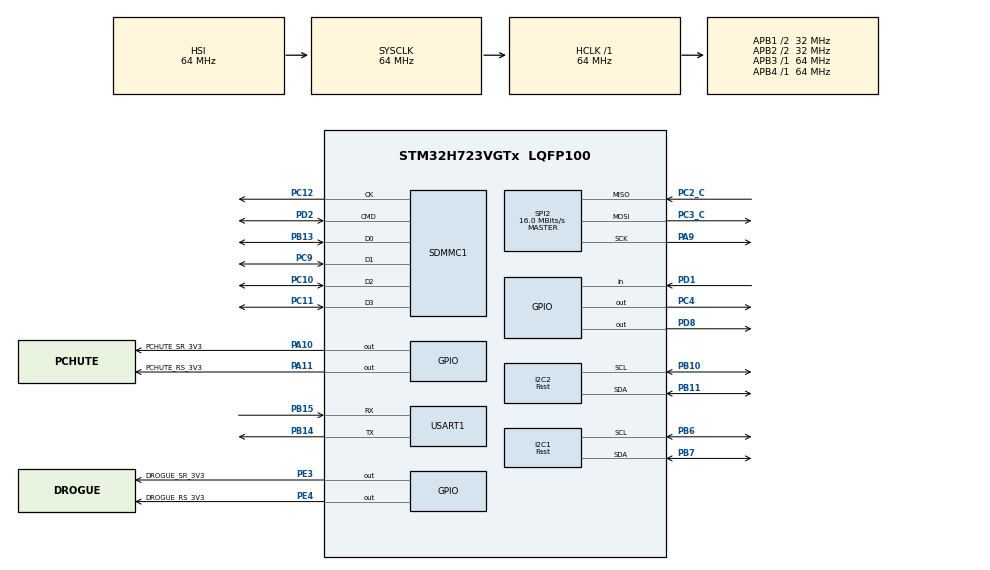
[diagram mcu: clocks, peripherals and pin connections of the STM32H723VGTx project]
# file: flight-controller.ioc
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CORTEX_M7.AccessPermission-Cortex_Memory_Protection_Unit_Region0_Settings=MPU_REGION_FULL_ACCESS
CORTEX_M7.BaseAddress-Cortex_Memory_Protection_Unit_Region0_Settings=0x30000000
CORTEX_M7.DisableExec-Cortex_Memory_Protection_Unit_Region0_Settings=MPU_INSTRUCTION_ACCESS_DISABLE
CORTEX_M7.Enable-Cortex_Memory_Protection_Unit_Region0_Settings=MPU_REGION_ENABLE
CORTEX_M7.MPU_Control=MPU_HFNMI_PRIVDEF
CORTEX_M7.Size-Cortex_Memory_Protection_Unit_Region0_Settings=MPU_REGION_SIZE_32KB
CORTEX_M7.TypeExtField-Cortex_Memory_Protection_Unit_Region0_Settings=MPU_TEX_LEVEL1
Dma.I2C1_RX.2.Direction=DMA_PERIPH_TO_MEMORY
Dma.I2C1_RX.2.EventEnable=DISABLE
Dma.I2C1_RX.2.FIFOMode=DMA_FIFOMODE_DISABLE
Dma.I2C1_RX.2.Instance=DMA1_Stream2
Dma.I2C1_RX.2.MemDataAlignment=DMA_MDATAALIGN_BYTE
Dma.I2C1_RX.2.MemInc=DMA_MINC_ENABLE
Dma.I2C1_RX.2.Mode=DMA_NORMAL
Dma.I2C1_RX.2.PeriphDataAlignment=DMA_PDATAALIGN_BYTE
Dma.I2C1_RX.2.PeriphInc=DMA_PINC_DISABLE
Dma.I2C1_RX.2.Polarity=HAL_DMAMUX_REQ_GEN_RISING
Dma.I2C1_RX.2.Priority=DMA_PRIORITY_LOW
Dma.I2C1_RX.2.RequestNumber=1
Dma.I2C1_RX.2.SignalID=NONE
Dma.I2C1_RX.2.SyncEnable=DISABLE
Dma.I2C1_RX.2.SyncPolarity=HAL_DMAMUX_SYNC_NO_EVENT
Dma.I2C1_RX.2.SyncRequestNumber=1
Dma.I2C1_RX.2.SyncSignalID=NONE
Dma.I2C1_TX.3.Direction=DMA_MEMORY_TO_PERIPH
Dma.I2C1_TX.3.EventEnable=DISABLE
Dma.I2C1_TX.3.FIFOMode=DMA_FIFOMODE_DISABLE
Dma.I2C1_TX.3.Instance=DMA1_Stream3
Dma.I2C1_TX.3.MemDataAlignment=DMA_MDATAALIGN_BYTE
Dma.I2C1_TX.3.MemInc=DMA_MINC_ENABLE
Dma.I2C1_TX.3.Mode=DMA_NORMAL
Dma.I2C1_TX.3.PeriphDataAlignment=DMA_PDATAALIGN_BYTE
Dma.I2C1_TX.3.PeriphInc=DMA_PINC_DISABLE
Dma.I2C1_TX.3.Polarity=HAL_DMAMUX_REQ_GEN_RISING
Dma.I2C1_TX.3.Priority=DMA_PRIORITY_LOW
Dma.I2C1_TX.3.RequestNumber=1
Dma.I2C1_TX.3.SignalID=NONE
Dma.I2C1_TX.3.SyncEnable=DISABLE
Dma.I2C1_TX.3.SyncPolarity=HAL_DMAMUX_SYNC_NO_EVENT
Dma.I2C1_TX.3.SyncRequestNumber=1
Dma.I2C1_TX.3.SyncSignalID=NONE
Dma.I2C2_RX.4.Direction=DMA_PERIPH_TO_MEMORY
Dma.I2C2_RX.4.EventEnable=DISABLE
Dma.I2C2_RX.4.FIFOMode=DMA_FIFOMODE_DISABLE
Dma.I2C2_RX.4.Instance=DMA1_Stream4
Dma.I2C2_RX.4.MemDataAlignment=DMA_MDATAALIGN_BYTE
Dma.I2C2_RX.4.MemInc=DMA_MINC_ENABLE
Dma.I2C2_RX.4.Mode=DMA_NORMAL
Dma.I2C2_RX.4.PeriphDataAlignment=DMA_PDATAALIGN_BYTE
Dma.I2C2_RX.4.PeriphInc=DMA_PINC_DISABLE
Dma.I2C2_RX.4.Polarity=HAL_DMAMUX_REQ_GEN_RISING
Dma.I2C2_RX.4.Priority=DMA_PRIORITY_LOW
Dma.I2C2_RX.4.RequestNumber=1
Dma.I2C2_RX.4.SignalID=NONE
Dma.I2C2_RX.4.SyncEnable=DISABLE
Dma.I2C2_RX.4.SyncPolarity=HAL_DMAMUX_SYNC_NO_EVENT
Dma.I2C2_RX.4.SyncRequestNumber=1
Dma.I2C2_RX.4.SyncSignalID=NONE
Dma.I2C2_TX.5.Direction=DMA_MEMORY_TO_PERIPH
Dma.I2C2_TX.5.EventEnable=DISABLE
Dma.I2C2_TX.5.FIFOMode=DMA_FIFOMODE_DISABLE
Dma.I2C2_TX.5.Instance=DMA1_Stream5
Dma.I2C2_TX.5.MemDataAlignment=DMA_MDATAALIGN_BYTE
Dma.I2C2_TX.5.MemInc=DMA_MINC_ENABLE
Dma.I2C2_TX.5.Mode=DMA_NORMAL
Dma.I2C2_TX.5.PeriphDataAlignment=DMA_PDATAALIGN_BYTE
Dma.I2C2_TX.5.PeriphInc=DMA_PINC_DISABLE
Dma.I2C2_TX.5.Polarity=HAL_DMAMUX_REQ_GEN_RISING
Dma.I2C2_TX.5.Priority=DMA_PRIORITY_LOW
Dma.I2C2_TX.5.RequestNumber=1
Dma.I2C2_TX.5.SignalID=NONE
Dma.I2C2_TX.5.SyncEnable=DISABLE
Dma.I2C2_TX.5.SyncPolarity=HAL_DMAMUX_SYNC_NO_EVENT
Dma.I2C2_TX.5.SyncRequestNumber=1
Dma.I2C2_TX.5.SyncSignalID=NONE
Dma.Request0=USART1_RX
Dma.Request1=USART1_TX
Dma.Request2=I2C1_RX
Dma.Request3=I2C1_TX
Dma.Request4=I2C2_RX
Dma.Request5=I2C2_TX
Dma.Request6=SPI2_RX
Dma.Request7=SPI2_TX
Dma.SPI2_RX.6.Direction=DMA_PERIPH_TO_MEMORY
Dma.SPI2_RX.6.EventEnable=DISABLE
Dma.SPI2_RX.6.FIFOMode=DMA_FIFOMODE_DISABLE
Dma.SPI2_RX.6.Instance=DMA1_Stream6
Dma.SPI2_RX.6.MemDataAlignment=DMA_MDATAALIGN_BYTE
Dma.SPI2_RX.6.MemInc=DMA_MINC_ENABLE
Dma.SPI2_RX.6.Mode=DMA_NORMAL
Dma.SPI2_RX.6.PeriphDataAlignment=DMA_PDATAALIGN_BYTE
Dma.SPI2_RX.6.PeriphInc=DMA_PINC_DISABLE
Dma.SPI2_RX.6.Polarity=HAL_DMAMUX_REQ_GEN_RISING
Dma.SPI2_RX.6.Priority=DMA_PRIORITY_LOW
Dma.SPI2_RX.6.RequestNumber=1
Dma.SPI2_RX.6.SignalID=NONE
Dma.SPI2_RX.6.SyncEnable=DISABLE
Dma.SPI2_RX.6.SyncPolarity=HAL_DMAMUX_SYNC_NO_EVENT
Dma.SPI2_RX.6.SyncRequestNumber=1
Dma.SPI2_RX.6.SyncSignalID=NONE
Dma.SPI2_TX.7.Direction=DMA_MEMORY_TO_PERIPH
Dma.SPI2_TX.7.EventEnable=DISABLE
Dma.SPI2_TX.7.FIFOMode=DMA_FIFOMODE_DISABLE
Dma.SPI2_TX.7.Instance=DMA1_Stream7
Dma.SPI2_TX.7.MemDataAlignment=DMA_MDATAALIGN_BYTE
Dma.SPI2_TX.7.MemInc=DMA_MINC_ENABLE
Dma.SPI2_TX.7.Mode=DMA_NORMAL
Dma.SPI2_TX.7.PeriphDataAlignment=DMA_PDATAALIGN_BYTE
Dma.SPI2_TX.7.PeriphInc=DMA_PINC_DISABLE
Dma.SPI2_TX.7.Polarity=HAL_DMAMUX_REQ_GEN_RISING
Dma.SPI2_TX.7.Priority=DMA_PRIORITY_LOW
Dma.SPI2_TX.7.RequestNumber=1
Dma.SPI2_TX.7.SignalID=NONE
Dma.SPI2_TX.7.SyncEnable=DISABLE
Dma.SPI2_TX.7.SyncPolarity=HAL_DMAMUX_SYNC_NO_EVENT
Dma.SPI2_TX.7.SyncRequestNumber=1
Dma.SPI2_TX.7.SyncSignalID=NONE
Dma.USART1_RX.0.Direction=DMA_PERIPH_TO_MEMORY
Dma.USART1_RX.0.EventEnable=DISABLE
Dma.USART1_RX.0.FIFOMode=DMA_FIFOMODE_DISABLE
Dma.USART1_RX.0.Instance=DMA1_Stream0
Dma.USART1_RX.0.MemDataAlignment=DMA_MDATAALIGN_BYTE
Dma.USART1_RX.0.MemInc=DMA_MINC_ENABLE
Dma.USART1_RX.0.Mode=DMA_NORMAL
Dma.USART1_RX.0.PeriphDataAlignment=DMA_PDATAALIGN_BYTE
Dma.USART1_RX.0.PeriphInc=DMA_PINC_DISABLE
Dma.USART1_RX.0.Polarity=HAL_DMAMUX_REQ_GEN_RISING
Dma.USART1_RX.0.Priority=DMA_PRIORITY_LOW
Dma.USART1_RX.0.RequestNumber=1
Dma.USART1_RX.0.SignalID=NONE
Dma.USART1_RX.0.SyncEnable=DISABLE
Dma.USART1_RX.0.SyncPolarity=HAL_DMAMUX_SYNC_NO_EVENT
Dma.USART1_RX.0.SyncRequestNumber=1
Dma.USART1_RX.0.SyncSignalID=NONE
Dma.USART1_TX.1.Direction=DMA_MEMORY_TO_PERIPH
Dma.USART1_TX.1.EventEnable=DISABLE
Dma.USART1_TX.1.FIFOMode=DMA_FIFOMODE_DISABLE
Dma.USART1_TX.1.Instance=DMA1_Stream1
Dma.USART1_TX.1.MemDataAlignment=DMA_MDATAALIGN_BYTE
Dma.USART1_TX.1.MemInc=DMA_MINC_ENABLE
Dma.USART1_TX.1.Mode=DMA_NORMAL
Dma.USART1_TX.1.PeriphDataAlignment=DMA_PDATAALIGN_BYTE
Dma.USART1_TX.1.PeriphInc=DMA_PINC_DISABLE
Dma.USART1_TX.1.Polarity=HAL_DMAMUX_REQ_GEN_RISING
Dma.USART1_TX.1.Priority=DMA_PRIORITY_LOW
Dma.USART1_TX.1.RequestNumber=1
Dma.USART1_TX.1.SignalID=NONE
Dma.USART1_TX.1.SyncEnable=DISABLE
Dma.USART1_TX.1.SyncPolarity=HAL_DMAMUX_SYNC_NO_EVENT
Dma.USART1_TX.1.SyncRequestNumber=1
Dma.USART1_TX.1.SyncSignalID=NONE
FATFS.BSP.number=1
FATFS0.BSP.STBoard=false
FATFS0.BSP.api=Unknown
FATFS0.BSP.instance=PD1
FATFS0.BSP.ip=GPIO
FATFS0.BSP.mode=Input
FATFS0.BSP.name=Detect_SDIO
FATFS0.BSP.solution=PD1
FREERTOS.Tasks01=defaultTask,24,128,StartDefaultTask,Default,NULL,Dynamic,NULL,NULL
I2C1.I2C_Speed_Mode=I2C_Fast
I2C1.Timing=0x00300F38
I2C2.I2C_Speed_Mode=I2C_Fast
I2C2.Timing=0x00300F38
Mcu.Family=STM32H7
Mcu.Name=STM32H723VGTx
Mcu.Package=LQFP100
NVIC.DMA1_Stream0_IRQn=true\:5\:0\:true\:false\:true\:true\:false\:true\:true
NVIC.DMA1_Stream1_IRQn=true\:5\:0\:false\:false\:true\:true\:false\:true\:true
NVIC.DMA1_Stream2_IRQn=true\:5\:0\:false\:false\:true\:true\:false\:true\:true
NVIC.DMA1_Stream3_IRQn=true\:5\:0\:false\:false\:true\:true\:false\:true\:true
NVIC.DMA1_Stream4_IRQn=true\:5\:0\:false\:false\:true\:true\:false\:true\:true
NVIC.DMA1_Stream5_IRQn=true\:5\:0\:false\:false\:true\:true\:false\:true\:true
NVIC.DMA1_Stream6_IRQn=true\:5\:0\:false\:false\:true\:true\:false\:true\:true
NVIC.DMA1_Stream7_IRQn=true\:5\:0\:false\:false\:true\:true\:false\:true\:true
NVIC.I2C1_ER_IRQn=true\:5\:0\:false\:false\:true\:true\:true\:true\:true
NVIC.I2C1_EV_IRQn=true\:5\:0\:false\:false\:true\:true\:true\:true\:true
NVIC.I2C2_ER_IRQn=true\:5\:0\:false\:false\:true\:true\:true\:true\:true
NVIC.I2C2_EV_IRQn=true\:5\:0\:false\:false\:true\:true\:true\:true\:true
NVIC.PriorityGroup=NVIC_PRIORITYGROUP_4
NVIC.SDMMC1_IRQn=true\:5\:0\:false\:false\:true\:true\:true\:true\:true
NVIC.SPI2_IRQn=true\:5\:0\:false\:false\:true\:true\:true\:true\:true
NVIC.TIM1_UP_IRQn=true\:15\:0\:false\:false\:true\:false\:false\:true\:true
NVIC.TimeBase=TIM1_UP_IRQn
NVIC.TimeBaseIP=TIM1
NVIC.USART1_IRQn=true\:5\:0\:false\:false\:true\:true\:true\:true\:true
PA10.GPIO_Label=PCHUTE_SR_3V3
PA10.Signal=GPIO_Output
PA11.GPIO_Label=PCHUTE_RS_3V3
PA11.Signal=GPIO_Output
PA13(JTMS/SWDIO).Mode=Serial_Wire
PA13(JTMS/SWDIO).Signal=DEBUG_JTMS-SWDIO
PA14(JTCK/SWCLK).Mode=Serial_Wire
PA14(JTCK/SWCLK).Signal=DEBUG_JTCK-SWCLK
PA9.Mode=Full_Duplex_Master
PA9.Signal=SPI2_SCK
PB10.GPIO_Pu=GPIO_PULLUP
PB10.Mode=I2C
PB10.Signal=I2C2_SCL
PB11.GPIO_Pu=GPIO_PULLUP
PB11.Mode=I2C
PB11.Signal=I2C2_SDA
PB13.Mode=SD_4_bits_Wide_bus
PB13.Signal=SDMMC1_D0
PB14.Mode=Asynchronous
PB14.Signal=USART1_TX
PB15.Mode=Asynchronous
PB15.Signal=USART1_RX
PB6.Mode=I2C
PB6.Signal=I2C1_SCL
PB7.Mode=I2C
PB7.Signal=I2C1_SDA
PC10.Mode=SD_4_bits_Wide_bus
PC10.Signal=SDMMC1_D2
PC11.Mode=SD_4_bits_Wide_bus
PC11.Signal=SDMMC1_D3
PC12.Mode=SD_4_bits_Wide_bus
PC12.Signal=SDMMC1_CK
PC2_C.Mode=Full_Duplex_Master
PC2_C.Signal=SPI2_MISO
PC3_C.Mode=Full_Duplex_Master
PC3_C.Signal=SPI2_MOSI
PC4.GPIO_Speed=GPIO_SPEED_FREQ_HIGH
PC4.Signal=GPIO_Output
PC9.Mode=SD_4_bits_Wide_bus
PC9.Signal=SDMMC1_D1
PD1.Signal=GPIO_Input
PD2.Mode=SD_4_bits_Wide_bus
PD2.Signal=SDMMC1_CMD
PD8.GPIO_Speed=GPIO_SPEED_FREQ_HIGH
PD8.PinState=GPIO_PIN_SET
PD8.Signal=GPIO_Output
PE3.GPIO_Label=DROGUE_SR_3V3
PE3.Signal=GPIO_Output
PE4.GPIO_Label=DROGUE_RS_3V3
PE4.Signal=GPIO_Output
PH0-OSC_IN.Mode=HSE-External-Oscillator
PH0-OSC_IN.Signal=RCC_OSC_IN
PH1-OSC_OUT.Mode=HSE-External-Oscillator
PH1-OSC_OUT.Signal=RCC_OSC_OUT
ProjectManager.HeapSize=0x200
ProjectManager.StackSize=0x400
ProjectManager.TargetToolchain=STM32CubeIDE
RCC.ADCFreq_Value=38400000
RCC.APB1Freq_Value=32000000
RCC.APB2Freq_Value=32000000
RCC.APB3Freq_Value=64000000
RCC.APB4Freq_Value=64000000
RCC.CortexFreq_Value=64000000
RCC.D2PPRE1=RCC_APB1_DIV2
RCC.D2PPRE2=RCC_APB2_DIV2
RCC.DIVM1=4
RCC.DIVM2=4
RCC.DIVN1=12
RCC.DIVN2=12
RCC.DIVP2=5
RCC.DIVQ1=3
RCC.HCLKFreq_Value=64000000
RCC.PLL2FRACN=0
RCC.PLLFRACN=0
RCC.SYSCLKFreq_VALUE=64000000
RCC.USBFreq_Value=64000000
SDMMC1.ClockDiv=162
SPI2.BaudRatePrescaler=SPI_BAUDRATEPRESCALER_4
SPI2.CalculateBaudRate=16.0 MBits/s
SPI2.DataSize=SPI_DATASIZE_8BIT
SPI2.Direction=SPI_DIRECTION_2LINES
SPI2.Mode=SPI_MODE_MASTER
SPI2.VirtualType=VM_MASTER
TIM2.Prescaler=63
USART1.VirtualMode-Asynchronous=VM_ASYNC
VP_FATFS_VS_SDIO.Mode=SDIO
VP_FREERTOS_VS_CMSIS_V2.Mode=CMSIS_V2
VP_MEMORYMAP_VS_MEMORYMAP.Mode=CurAppReg
VP_SYS_VS_tim1.Mode=TIM1
VP_TIM2_VS_ClockSourceINT.Mode=Internal
board=custom

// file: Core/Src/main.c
/* USER CODE BEGIN Header */
/**
  ******************************************************************************
  * @file           : main.c
  * @brief          : Main program body
  ******************************************************************************
  * @attention
  *
  * Copyright (c) 2026 STMicroelectronics.
  * All rights reserved.
  *
  * This software is licensed under terms that can be found in the LICENSE file
  * in the root directory of this software component.
  * If no LICENSE file comes with this software, it is provided AS-IS.
  *
  ******************************************************************************
  */
/* USER CODE END Header */
#include "main.h"
#include "FreeRTOS.h"
#include "cmsis_os2.h"
#include "fatfs.h"

/* USER CODE BEGIN Includes */
#include "Utils/configuration.h"
#include "Utils/shared.h"
#include "Callbacks/Callbacks.h"
#include <Tasks/SDLoggingTask.h>
#include <Tasks/StateMachineTask.h>
#include <Tasks/TelemetryTask.h>
#include <Tasks/SensorConfigTask.h>
#include "Sensors/Sensors.h"
#include "Protocol/Protocol.h"

#include <timers.h>
#include "Utils/Battery.h"
/* USER CODE END Includes */

I2C_HandleTypeDef hi2c1;
I2C_HandleTypeDef hi2c2;
DMA_HandleTypeDef hdma_i2c1_rx;
DMA_HandleTypeDef hdma_i2c1_tx;
DMA_HandleTypeDef hdma_i2c2_rx;
DMA_HandleTypeDef hdma_i2c2_tx;

SD_HandleTypeDef hsd1;

SPI_HandleTypeDef hspi2;
DMA_HandleTypeDef hdma_spi2_rx;
DMA_HandleTypeDef hdma_spi2_tx;

TIM_HandleTypeDef htim2;

UART_HandleTypeDef huart1;
DMA_HandleTypeDef hdma_usart1_rx;
DMA_HandleTypeDef hdma_usart1_tx;

/* Definitions for defaultTask */
osThreadId_t defaultTaskHandle;
const osThreadAttr_t defaultTask_attributes = {
  .name = "defaultTask",
  .stack_size = 128 * 4,
  .priority = (osPriority_t) osPriorityNormal,
};
/* USER CODE BEGIN PV */
QueueHandle_t SDLoggingQueue;
QueueHandle_t CommandQueue;

TimerHandle_t TimerIIM42653;
TimerHandle_t TimerBMP581;
TimerHandle_t TimerIIS2MDCTR;
TimerHandle_t TimerBattery;

SystemFaultFlags_t SystemFaultFlags;

SystemContext_t SystemContext;
/* USER CODE END PV */

void SystemClock_Config(void);
static void MPU_Config(void);
static void MX_GPIO_Init(void);
static void MX_DMA_Init(void);
static void MX_I2C1_Init(void);
static void MX_I2C2_Init(void);
static void MX_SPI2_Init(void);
static void MX_TIM2_Init(void);
static void MX_SDMMC1_SD_Init(void);
static void MX_USART1_UART_Init(void);
void StartDefaultTask(void *argument);

int main(void)
{

  /* MPU Configuration--------------------------------------------------------*/
  MPU_Config();

  /* MCU Configuration--------------------------------------------------------*/

  /* Reset of all peripherals, Initializes the Flash interface and the Systick. */
  HAL_Init();

  /* Configure the system clock */
  SystemClock_Config();

  /* Initialize all configured peripherals */
  MX_GPIO_Init();
  MX_DMA_Init();
  MX_I2C1_Init();
  MX_I2C2_Init();
  MX_SPI2_Init();
  MX_TIM2_Init();
  MX_SDMMC1_SD_Init();
  MX_FATFS_Init();
  MX_USART1_UART_Init();

  /* Init scheduler */
  osKernelInitialize();

  /* Create the thread(s) */
  /* creation of defaultTask */
  defaultTaskHandle = osThreadNew(StartDefaultTask, NULL, &defaultTask_attributes);

  /* USER CODE BEGIN RTOS_THREADS */
  HAL_TIM_Base_Start(&htim2);

  SDLoggingQueue = xQueueCreate(QUEUE_LENGTH, sizeof(FlightData_t));
  CommandQueue = xQueueCreate(QUEUE_LENGTH, sizeof(CommandType_t));

  CreateTelemetryTask(&huart1, tskIDLE_PRIORITY + 4, STACK_SIZE_TELEMETRY);
  CreateSensorConfigTask(&SystemContext, tskIDLE_PRIORITY + 3, STACK_SIZE_SENSOR_CONFIG);
  CreateStateMachineTask(&SystemContext, tskIDLE_PRIORITY + 6, STACK_SIZE_STATE_MACHINE);
  CreateSDLoggingTask(&SystemContext, tskIDLE_PRIORITY + 1, STACK_SIZE_SD_LOGGING);

  // TODO: Revise rate
  TimerIIM42653 = xTimerCreate("IIM42653", pdMS_TO_TICKS(10), pdTRUE, NULL, IIM42653_Timer_Callback);
  TimerBMP581 = xTimerCreate("BMP581", pdMS_TO_TICKS(25), pdTRUE, NULL, BMP581_Timer_Callback);
  TimerIIS2MDCTR = xTimerCreate("IIS2MDCTR", pdMS_TO_TICKS(50), pdTRUE, NULL, IIS2MDCTR_Timer_Callback);
//  TimerBattery = xTimerCreate("Battery", pdMS_TO_TICKS(500), pdTRUE, NULL, Battery_Timer_Callback);
  /* add threads, ... */
  /* USER CODE END RTOS_THREADS */

  /* Start scheduler */
  osKernelStart();

  /* We should never get here as control is now taken by the scheduler */

  /* Infinite loop */
  while (1)
  {

  }
}

void SystemClock_Config(void)
{
  RCC_OscInitTypeDef RCC_OscInitStruct = {0};
  RCC_ClkInitTypeDef RCC_ClkInitStruct = {0};

  /** Supply configuration update enable
  */
  HAL_PWREx_ConfigSupply(PWR_LDO_SUPPLY);

  /** Configure the main internal regulator output voltage
  */
  __HAL_PWR_VOLTAGESCALING_CONFIG(PWR_REGULATOR_VOLTAGE_SCALE3);

  while(!__HAL_PWR_GET_FLAG(PWR_FLAG_VOSRDY)) {}

  /** Initializes the RCC Oscillators according to the specified parameters
  * in the RCC_OscInitTypeDef structure.
  */
  RCC_OscInitStruct.OscillatorType = RCC_OSCILLATORTYPE_HSI;
  RCC_OscInitStruct.HSIState = RCC_HSI_DIV1;
  RCC_OscInitStruct.HSICalibrationValue = 64;
  RCC_OscInitStruct.PLL.PLLState = RCC_PLL_ON;
  RCC_OscInitStruct.PLL.PLLSource = RCC_PLLSOURCE_HSI;
  RCC_OscInitStruct.PLL.PLLM = 4;
  RCC_OscInitStruct.PLL.PLLN = 12;
  RCC_OscInitStruct.PLL.PLLP = 2;
  RCC_OscInitStruct.PLL.PLLQ = 3;
  RCC_OscInitStruct.PLL.PLLR = 2;
  RCC_OscInitStruct.PLL.PLLRGE = RCC_PLL1VCIRANGE_3;
  RCC_OscInitStruct.PLL.PLLVCOSEL = RCC_PLL1VCOWIDE;
  RCC_OscInitStruct.PLL.PLLFRACN = 0;
  if (HAL_RCC_OscConfig(&RCC_OscInitStruct) != HAL_OK)
  {
    Error_Handler();
  }

  /** Initializes the CPU, AHB and APB buses clocks
  */
  RCC_ClkInitStruct.ClockType = RCC_CLOCKTYPE_HCLK|RCC_CLOCKTYPE_SYSCLK
                              |RCC_CLOCKTYPE_PCLK1|RCC_CLOCKTYPE_PCLK2
                              |RCC_CLOCKTYPE_D3PCLK1|RCC_CLOCKTYPE_D1PCLK1;
  RCC_ClkInitStruct.SYSCLKSource = RCC_SYSCLKSOURCE_HSI;
  RCC_ClkInitStruct.SYSCLKDivider = RCC_SYSCLK_DIV1;
  RCC_ClkInitStruct.AHBCLKDivider = RCC_HCLK_DIV1;
  RCC_ClkInitStruct.APB3CLKDivider = RCC_APB3_DIV1;
  RCC_ClkInitStruct.APB1CLKDivider = RCC_APB1_DIV2;
  RCC_ClkInitStruct.APB2CLKDivider = RCC_APB2_DIV2;
  RCC_ClkInitStruct.APB4CLKDivider = RCC_APB4_DIV1;

  if (HAL_RCC_ClockConfig(&RCC_ClkInitStruct, FLASH_LATENCY_1) != HAL_OK)
  {
    Error_Handler();
  }
}

static void MX_I2C1_Init(void)
{

  hi2c1.Instance = I2C1;
  hi2c1.Init.Timing = 0x00300F38;
  hi2c1.Init.OwnAddress1 = 0;
  hi2c1.Init.AddressingMode = I2C_ADDRESSINGMODE_7BIT;
  hi2c1.Init.DualAddressMode = I2C_DUALADDRESS_DISABLE;
  hi2c1.Init.OwnAddress2 = 0;
  hi2c1.Init.OwnAddress2Masks = I2C_OA2_NOMASK;
  hi2c1.Init.GeneralCallMode = I2C_GENERALCALL_DISABLE;
  hi2c1.Init.NoStretchMode = I2C_NOSTRETCH_DISABLE;
  if (HAL_I2C_Init(&hi2c1) != HAL_OK)
  {
    Error_Handler();
  }

  /** Configure Analogue filter
  */
  if (HAL_I2CEx_ConfigAnalogFilter(&hi2c1, I2C_ANALOGFILTER_ENABLE) != HAL_OK)
  {
    Error_Handler();
  }

  /** Configure Digital filter
  */
  if (HAL_I2CEx_ConfigDigitalFilter(&hi2c1, 0) != HAL_OK)
  {
    Error_Handler();
  }

}

static void MX_I2C2_Init(void)
{

  hi2c2.Instance = I2C2;
  hi2c2.Init.Timing = 0x00300F38;
  hi2c2.Init.OwnAddress1 = 0;
  hi2c2.Init.AddressingMode = I2C_ADDRESSINGMODE_7BIT;
  hi2c2.Init.DualAddressMode = I2C_DUALADDRESS_DISABLE;
  hi2c2.Init.OwnAddress2 = 0;
  hi2c2.Init.OwnAddress2Masks = I2C_OA2_NOMASK;
  hi2c2.Init.GeneralCallMode = I2C_GENERALCALL_DISABLE;
  hi2c2.Init.NoStretchMode = I2C_NOSTRETCH_DISABLE;
  if (HAL_I2C_Init(&hi2c2) != HAL_OK)
  {
    Error_Handler();
  }

  /** Configure Analogue filter
  */
  if (HAL_I2CEx_ConfigAnalogFilter(&hi2c2, I2C_ANALOGFILTER_ENABLE) != HAL_OK)
  {
    Error_Handler();
  }

  /** Configure Digital filter
  */
  if (HAL_I2CEx_ConfigDigitalFilter(&hi2c2, 0) != HAL_OK)
  {
    Error_Handler();
  }

}

static void MX_SDMMC1_SD_Init(void)
{

  hsd1.Instance = SDMMC1;
  hsd1.Init.ClockEdge = SDMMC_CLOCK_EDGE_RISING;
  hsd1.Init.ClockPowerSave = SDMMC_CLOCK_POWER_SAVE_DISABLE;
  hsd1.Init.BusWide = SDMMC_BUS_WIDE_4B;
  hsd1.Init.HardwareFlowControl = SDMMC_HARDWARE_FLOW_CONTROL_DISABLE;
  hsd1.Init.ClockDiv = 162;
  if (HAL_SD_Init(&hsd1) != HAL_OK)
  {
    Error_Handler();
  }

}

static void MX_SPI2_Init(void)
{

  /* SPI2 parameter configuration*/
  hspi2.Instance = SPI2;
  hspi2.Init.Mode = SPI_MODE_MASTER;
  hspi2.Init.Direction = SPI_DIRECTION_2LINES;
  hspi2.Init.DataSize = SPI_DATASIZE_8BIT;
  hspi2.Init.CLKPolarity = SPI_POLARITY_LOW;
  hspi2.Init.CLKPhase = SPI_PHASE_1EDGE;
  hspi2.Init.NSS = SPI_NSS_SOFT;
  hspi2.Init.BaudRatePrescaler = SPI_BAUDRATEPRESCALER_4;
  hspi2.Init.FirstBit = SPI_FIRSTBIT_MSB;
  hspi2.Init.TIMode = SPI_TIMODE_DISABLE;
  hspi2.Init.CRCCalculation = SPI_CRCCALCULATION_DISABLE;
  hspi2.Init.CRCPolynomial = 0x0;
  hspi2.Init.NSSPMode = SPI_NSS_PULSE_ENABLE;
  hspi2.Init.NSSPolarity = SPI_NSS_POLARITY_LOW;
  hspi2.Init.FifoThreshold = SPI_FIFO_THRESHOLD_01DATA;
  hspi2.Init.TxCRCInitializationPattern = SPI_CRC_INITIALIZATION_ALL_ZERO_PATTERN;
  hspi2.Init.RxCRCInitializationPattern = SPI_CRC_INITIALIZATION_ALL_ZERO_PATTERN;
  hspi2.Init.MasterSSIdleness = SPI_MASTER_SS_IDLENESS_00CYCLE;
  hspi2.Init.MasterInterDataIdleness = SPI_MASTER_INTERDATA_IDLENESS_00CYCLE;
  hspi2.Init.MasterReceiverAutoSusp = SPI_MASTER_RX_AUTOSUSP_DISABLE;
  hspi2.Init.MasterKeepIOState = SPI_MASTER_KEEP_IO_STATE_DISABLE;
  hspi2.Init.IOSwap = SPI_IO_SWAP_DISABLE;
  if (HAL_SPI_Init(&hspi2) != HAL_OK)
  {
    Error_Handler();
  }

}

static void MX_TIM2_Init(void)
{

  TIM_ClockConfigTypeDef sClockSourceConfig = {0};
  TIM_MasterConfigTypeDef sMasterConfig = {0};

  htim2.Instance = TIM2;
  htim2.Init.Prescaler = 63;
  htim2.Init.CounterMode = TIM_COUNTERMODE_UP;
  htim2.Init.Period = 4294967295;
  htim2.Init.ClockDivision = TIM_CLOCKDIVISION_DIV1;
  htim2.Init.AutoReloadPreload = TIM_AUTORELOAD_PRELOAD_DISABLE;
  if (HAL_TIM_Base_Init(&htim2) != HAL_OK)
  {
    Error_Handler();
  }
  sClockSourceConfig.ClockSource = TIM_CLOCKSOURCE_INTERNAL;
  if (HAL_TIM_ConfigClockSource(&htim2, &sClockSourceConfig) != HAL_OK)
  {
    Error_Handler();
  }
  sMasterConfig.MasterOutputTrigger = TIM_TRGO_RESET;
  sMasterConfig.MasterSlaveMode = TIM_MASTERSLAVEMODE_DISABLE;
  if (HAL_TIMEx_MasterConfigSynchronization(&htim2, &sMasterConfig) != HAL_OK)
  {
    Error_Handler();
  }

}

static void MX_USART1_UART_Init(void)
{

  huart1.Instance = USART1;
  huart1.Init.BaudRate = 115200;
  huart1.Init.WordLength = UART_WORDLENGTH_8B;
  huart1.Init.StopBits = UART_STOPBITS_1;
  huart1.Init.Parity = UART_PARITY_NONE;
  huart1.Init.Mode = UART_MODE_TX_RX;
  huart1.Init.HwFlowCtl = UART_HWCONTROL_NONE;
  huart1.Init.OverSampling = UART_OVERSAMPLING_16;
  huart1.Init.OneBitSampling = UART_ONE_BIT_SAMPLE_DISABLE;
  huart1.Init.ClockPrescaler = UART_PRESCALER_DIV1;
  huart1.AdvancedInit.AdvFeatureInit = UART_ADVFEATURE_NO_INIT;
  if (HAL_UART_Init(&huart1) != HAL_OK)
  {
    Error_Handler();
  }
  if (HAL_UARTEx_SetTxFifoThreshold(&huart1, UART_TXFIFO_THRESHOLD_1_8) != HAL_OK)
  {
    Error_Handler();
  }
  if (HAL_UARTEx_SetRxFifoThreshold(&huart1, UART_RXFIFO_THRESHOLD_1_8) != HAL_OK)
  {
    Error_Handler();
  }
  if (HAL_UARTEx_DisableFifoMode(&huart1) != HAL_OK)
  {
    Error_Handler();
  }

}

static void MX_DMA_Init(void)
{

  /* DMA controller clock enable */
  __HAL_RCC_DMA1_CLK_ENABLE();

  /* DMA interrupt init */
  /* DMA1_Stream0_IRQn interrupt configuration */
  HAL_NVIC_SetPriority(DMA1_Stream0_IRQn, 5, 0);
  HAL_NVIC_EnableIRQ(DMA1_Stream0_IRQn);
  /* DMA1_Stream1_IRQn interrupt configuration */
  HAL_NVIC_SetPriority(DMA1_Stream1_IRQn, 5, 0);
  HAL_NVIC_EnableIRQ(DMA1_Stream1_IRQn);
  /* DMA1_Stream2_IRQn interrupt configuration */
  HAL_NVIC_SetPriority(DMA1_Stream2_IRQn, 5, 0);
  HAL_NVIC_EnableIRQ(DMA1_Stream2_IRQn);
  /* DMA1_Stream3_IRQn interrupt configuration */
  HAL_NVIC_SetPriority(DMA1_Stream3_IRQn, 5, 0);
  HAL_NVIC_EnableIRQ(DMA1_Stream3_IRQn);
  /* DMA1_Stream4_IRQn interrupt configuration */
  HAL_NVIC_SetPriority(DMA1_Stream4_IRQn, 5, 0);
  HAL_NVIC_EnableIRQ(DMA1_Stream4_IRQn);
  /* DMA1_Stream5_IRQn interrupt configuration */
  HAL_NVIC_SetPriority(DMA1_Stream5_IRQn, 5, 0);
  HAL_NVIC_EnableIRQ(DMA1_Stream5_IRQn);
  /* DMA1_Stream6_IRQn interrupt configuration */
  HAL_NVIC_SetPriority(DMA1_Stream6_IRQn, 5, 0);
  HAL_NVIC_EnableIRQ(DMA1_Stream6_IRQn);
  /* DMA1_Stream7_IRQn interrupt configuration */
  HAL_NVIC_SetPriority(DMA1_Stream7_IRQn, 5, 0);
  HAL_NVIC_EnableIRQ(DMA1_Stream7_IRQn);

}

static void MX_GPIO_Init(void)
{
  GPIO_InitTypeDef GPIO_InitStruct = {0};

  /* GPIO Ports Clock Enable */
  __HAL_RCC_GPIOE_CLK_ENABLE();
  __HAL_RCC_GPIOH_CLK_ENABLE();
  __HAL_RCC_GPIOC_CLK_ENABLE();
  __HAL_RCC_GPIOB_CLK_ENABLE();
  __HAL_RCC_GPIOD_CLK_ENABLE();
  __HAL_RCC_GPIOA_CLK_ENABLE();

  /*Configure GPIO pin Output Level */
  HAL_GPIO_WritePin(GPIOE, DROGUE_SR_3V3_Pin|DROGUE_RS_3V3_Pin, GPIO_PIN_RESET);

  /*Configure GPIO pin Output Level */
  HAL_GPIO_WritePin(GPIOC, GPIO_PIN_4, GPIO_PIN_RESET);

  /*Configure GPIO pin Output Level */
  HAL_GPIO_WritePin(GPIOD, GPIO_PIN_8, GPIO_PIN_SET);

  /*Configure GPIO pin Output Level */
  HAL_GPIO_WritePin(GPIOA, PCHUTE_SR_3V3_Pin|PCHUTE_RS_3V3_Pin, GPIO_PIN_RESET);

  /*Configure GPIO pins : DROGUE_SR_3V3_Pin DROGUE_RS_3V3_Pin */
  GPIO_InitStruct.Pin = DROGUE_SR_3V3_Pin|DROGUE_RS_3V3_Pin;
  GPIO_InitStruct.Mode = GPIO_MODE_OUTPUT_PP;
  GPIO_InitStruct.Pull = GPIO_NOPULL;
  GPIO_InitStruct.Speed = GPIO_SPEED_FREQ_LOW;
  HAL_GPIO_Init(GPIOE, &GPIO_InitStruct);

  /*Configure GPIO pin : PC4 */
  GPIO_InitStruct.Pin = GPIO_PIN_4;
  GPIO_InitStruct.Mode = GPIO_MODE_OUTPUT_PP;
  GPIO_InitStruct.Pull = GPIO_NOPULL;
  GPIO_InitStruct.Speed = GPIO_SPEED_FREQ_HIGH;
  HAL_GPIO_Init(GPIOC, &GPIO_InitStruct);

  /*Configure GPIO pin : PD8 */
  GPIO_InitStruct.Pin = GPIO_PIN_8;
  GPIO_InitStruct.Mode = GPIO_MODE_OUTPUT_PP;
  GPIO_InitStruct.Pull = GPIO_NOPULL;
  GPIO_InitStruct.Speed = GPIO_SPEED_FREQ_HIGH;
  HAL_GPIO_Init(GPIOD, &GPIO_InitStruct);

  /*Configure GPIO pins : PCHUTE_SR_3V3_Pin PCHUTE_RS_3V3_Pin */
  GPIO_InitStruct.Pin = PCHUTE_SR_3V3_Pin|PCHUTE_RS_3V3_Pin;
  GPIO_InitStruct.Mode = GPIO_MODE_OUTPUT_PP;
  GPIO_InitStruct.Pull = GPIO_NOPULL;
  GPIO_InitStruct.Speed = GPIO_SPEED_FREQ_LOW;
  HAL_GPIO_Init(GPIOA, &GPIO_InitStruct);

  /*Configure GPIO pin : PD1 */
  GPIO_InitStruct.Pin = GPIO_PIN_1;
  GPIO_InitStruct.Mode = GPIO_MODE_INPUT;
  GPIO_InitStruct.Pull = GPIO_NOPULL;
  HAL_GPIO_Init(GPIOD, &GPIO_InitStruct);

}

void StartDefaultTask(void *argument)
{
  /* USER CODE BEGIN 5 */
  vTaskDelete(NULL);
  /* USER CODE END 5 */
}

 /* MPU Configuration */

void MPU_Config(void)
{
  MPU_Region_InitTypeDef MPU_InitStruct = {0};

  /* Disables the MPU */
  HAL_MPU_Disable();

  /** Initializes and configures the Region and the memory to be protected
  */
  MPU_InitStruct.Enable = MPU_REGION_ENABLE;
  MPU_InitStruct.Number = MPU_REGION_NUMBER0;
  MPU_InitStruct.BaseAddress = 0x30000000;
  MPU_InitStruct.Size = MPU_REGION_SIZE_32KB;
  MPU_InitStruct.SubRegionDisable = 0x0;
  MPU_InitStruct.TypeExtField = MPU_TEX_LEVEL1;
  MPU_InitStruct.AccessPermission = MPU_REGION_FULL_ACCESS;
  MPU_InitStruct.DisableExec = MPU_INSTRUCTION_ACCESS_DISABLE;
  MPU_InitStruct.IsShareable = MPU_ACCESS_NOT_SHAREABLE;
  MPU_InitStruct.IsCacheable = MPU_ACCESS_NOT_CACHEABLE;
  MPU_InitStruct.IsBufferable = MPU_ACCESS_NOT_BUFFERABLE;

  HAL_MPU_ConfigRegion(&MPU_InitStruct);
  /* Enables the MPU */
  HAL_MPU_Enable(MPU_HFNMI_PRIVDEF);

}

void HAL_TIM_PeriodElapsedCallback(TIM_HandleTypeDef *htim)
{
  if (htim->Instance == TIM1)
  {
    HAL_IncTick();
  }
}

void Error_Handler(void)
{
  /* USER CODE BEGIN Error_Handler_Debug */
  Buzzer_Beep_Counter(100, 5, 200, true);
  /* User can add his own implementation to report the HAL error return state */
  __disable_irq();
  while (1)
  {
  }
  /* USER CODE END Error_Handler_Debug */
}
